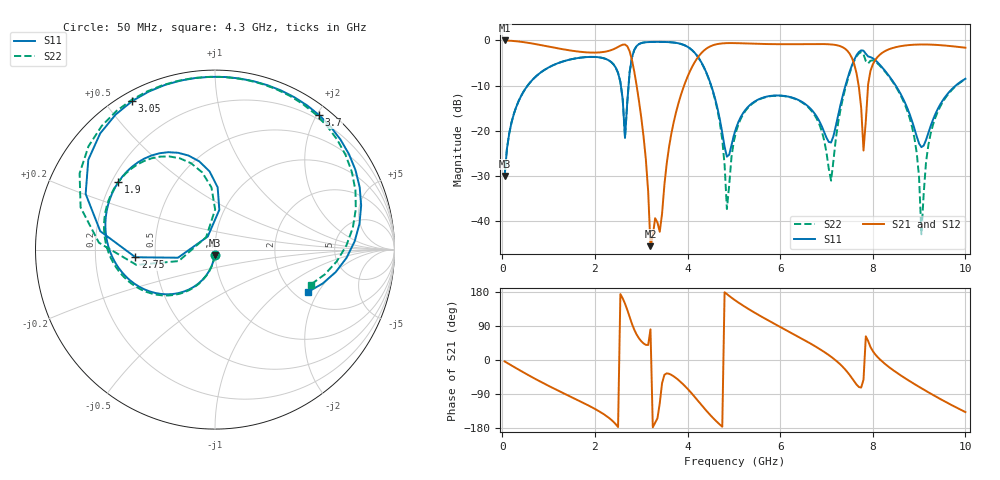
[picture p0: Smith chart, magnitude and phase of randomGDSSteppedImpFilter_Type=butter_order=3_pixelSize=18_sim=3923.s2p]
! freq	dB(S11)	phase(S11)	dB(S12)	phase(S12)
!  dB(S21)	phase(S21)	dB(S22)	phase(S22)
!S-par simulation data
#  GHz  S  DB  R 50
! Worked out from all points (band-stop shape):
!   200 points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, 50 MHz to 10 GHz, reference 50 ohm
!   highest |S21| = -0.01 dB at 50 MHz (marker M1); lowest = -45.6 dB at 3.2 GHz (marker M2)
!   |S21| within 3 dB of the highest: start of sweep to 2.765 GHz; 4.281 GHz to 7.504 GHz (3.223 GHz wide, 54.7 % of centre) (the widest 2 of 3)
!   lowest |S11| = -30.0 dB at 50 MHz (marker M3), VSWR 1.06, Z = 49.7 - j3.13 ohm
!   |S11| at or under -10 dB: start of sweep to 547.1 MHz; 4.511 GHz to 7.41 GHz (2.899 GHz wide, 48.6 % of centre); 8.496 GHz to 9.792 GHz (1.296 GHz wide, 14.2 % of centre) (the widest 3 of 4)
!   |S22| runs from -42.9 to -0.3 dB; largest |S21 - S12| = 0
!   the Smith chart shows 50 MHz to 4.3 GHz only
!   S11 on the Smith chart (normalised r, x): 50 MHz: 0.99, -0.06; 1.9 GHz: 0.23, +0.30; 2.75 GHz: 0.38, -0.04; 3.05 GHz: 0.04, +0.59; 3.7 GHz: 0.14, +2.03; 4.3 GHz: 2.36, -1.64
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0.05  -30.04 -93.7  -0.01 -3.7  -0.01 -3.7  -30.04 -93.7
0.5  -10.68 -126.7  -0.44 -35.6  -0.44 -35.6  -10.68 -125.7
1.75  -3.74 154.4  -2.59 -113.2  -2.59 -113.2  -3.74 158.2
1.9  -3.65 145.0  -2.69 -122.5  -2.69 -122.5  -3.65 149.1
2.65  -21.60 119.1  -0.91 148.8  -0.91 148.8  -21.40 125.3
2.75  -7.02 -174.5  -2.41 113.4  -2.41 113.4  -7.01 -169.0
3.05  -0.47 119.1  -21.26 43.8  -21.26 43.8  -0.47 125.4
3.2  -0.34 101.5  -45.56 81.0  -45.56 81.0  -0.34 108.0
3.4  -0.33 81.8  -42.37 -114.5  -42.37 -114.5  -0.33 88.5
3.7  -0.47 52.2  -18.17 -43.0  -18.17 -43.0  -0.47 58.9
4.3  -4.87 -24.3  -2.78 -118.6  -2.78 -118.6  -4.92 -20.1
4.85  -25.74 -15.8  -0.60 173.8  -0.60 173.8  -37.34 -21.1
5.05  -19.35 39.4  -0.60 155.7  -0.60 155.7  -20.14 68.2
6.7  -15.61 -39.6  -0.80 40.3  -0.80 40.3  -15.89 -41.6
7.1  -22.60 5.6  -0.89 8.6  -0.89 8.6  -31.06 14.3
7.6  -4.26 8.4  -5.28 -56.5  -5.28 -56.5  -4.52 17.3
7.8  -2.28 -38.2  -24.38 -51.8  -24.38 -51.8  -3.06 -36.9
8.35  -7.84 -102.4  -1.96 -18.7  -1.96 -18.7  -8.01 -102.7
8.9  -19.56 -116.5  -0.94 -63.5  -0.94 -63.5  -21.66 -149.3
9.05  -23.63 -79.5  -0.90 -74.5  -0.90 -74.5  -42.95 67.4
9.3  -17.56 -31.2  -0.95 -92.2  -0.95 -92.2  -18.69 1.8
10  -8.49 -54.6  -1.61 -137.4  -1.61 -137.4  -8.57 -43.8
